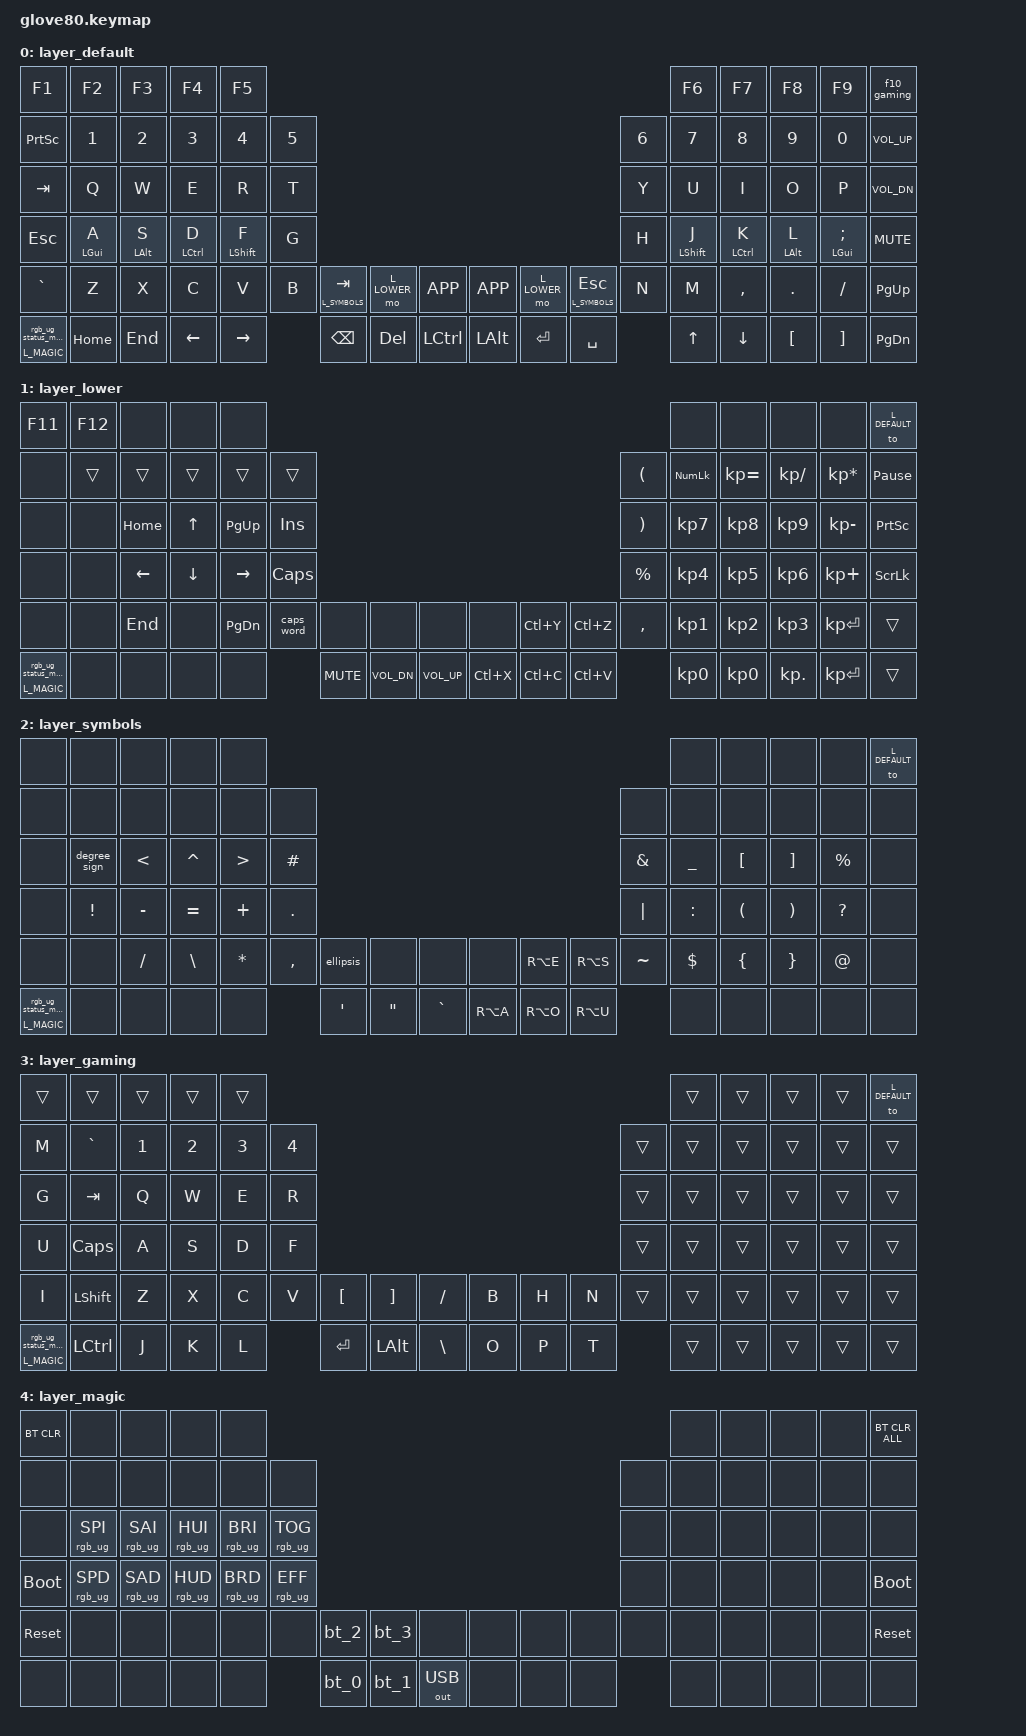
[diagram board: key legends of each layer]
/*
 * Copyright (c) 2020 The ZMK Contributors
 *
 * SPDX-License-Identifier: MIT
 */

#include <behaviors.dtsi>
#include <dt-bindings/zmk/keys.h>
#include <dt-bindings/zmk/bt.h>
#include <dt-bindings/zmk/ext_power.h>
#include <dt-bindings/zmk/outputs.h>
#include <dt-bindings/zmk/rgb.h>

// Layers
#define L_DEFAULT 0
#define L_LOWER   1
#define L_SYMBOLS 2
#define L_GAMING  3
#define L_MAGIC   4

// Troubleshooting/timings:
// https://github.com/urob/zmk-config?tab=readme-ov-file#troubleshooting
// https://docs.google.com/spreadsheets/d/1ESgObQelyz4lnKlfwLYsmofLJulOMK5RdGBsopLe2o8/edit

// How long you have to hold a key for it to count as a "hold" instead of just a "tap"
#define DEFAULT_TAPPING_TERM_MS 200

// Homerow mod hold time
#define HRM_TAPPING_TERM_MS_INDEX  140
#define HRM_TAPPING_TERM_MS_MIDDLE 220
#define HRM_TAPPING_TERM_MS_RING   240
#define HRM_TAPPING_TERM_MS_PINKY  260

// It prevents unintended activation of home row mods when you're actively typing.
#define HRM_REQ_PRIOR_IDLE_MS_INDEX  100
#define HRM_REQ_PRIOR_IDLE_MS_MIDDLE 150
#define HRM_REQ_PRIOR_IDLE_MS_RING   150
#define HRM_REQ_PRIOR_IDLE_MS_PINKY  200

// Time you have left after tapping a key to hold it again to make it auto-repeat.
#define HRM_QUICK_TAP_MS 175

// Unicode sequence
#define UNICODE_TAP_DELAY 10
#define UNICODE(_name_, _keystrokes_)                                 \
    _name_: _name_ {                                                  \
        compatible = "zmk,behavior-macro";                            \
        wait-ms = <UNICODE_TAP_DELAY>;                                \
        tap-ms = <UNICODE_TAP_DELAY>;                                 \
        #binding-cells = <0>;                                         \
        bindings = <&macro_tap &kp LC(LS(U)) _keystrokes_ &kp ENTER>; \
    };

/ {
    //////////////////////////////////////////////////////////////////////////////
    // Behaviors
    //////////////////////////////////////////////////////////////////////////////

    behaviors {
        //////////////////////////////////////////////////////////////////////////
        // Magic layer
        //////////////////////////////////////////////////////////////////////////

        magic: magic_hold_tap {
            compatible = "zmk,behavior-hold-tap";
            #binding-cells = <2>;
            flavor = "tap-preferred";
            tapping-term-ms = <DEFAULT_TAPPING_TERM_MS>;
            bindings = <&mo>, <&rgb_ug_status_macro>;
        };

        //////////////////////////////////////////////////////////////////////////
        // ZMK global overrides
        //////////////////////////////////////////////////////////////////////////

        behavior_caps_word {
            continue-list = <
                UNDERSCORE MINUS
                BACKSPACE DELETE
                N1 N2 N3 N4 N5 N6 N7 N8 N9 N0
            >;
        };

        //////////////////////////////////////////////////////////////////////////
        // Homerow mods
        //////////////////////////////////////////////////////////////////////////

        // Timeless homerow mods
        // https://github.com/urob/zmk-config?tab=readme-ov-file#timeless-homerow-mods
        // https://docs.google.com/spreadsheets/d/1ESgObQelyz4lnKlfwLYsmofLJulOMK5RdGBsopLe2o8/edit
        #define LEFT_HAND_KEYS                                      \
              0  1  2  3  4                                         \
             10 11 12 13 14 15                                      \
             22 23 24 25 26 27                                      \
             34 35 36 37 38 39                                      \
             46 47 48 49 50 51                                      \
             64 65 66 67 68
        #define RIGHT_HAND_KEYS                                     \
                                               5  6  7  8  9        \
                                           16 17 18 19 20 21        \
                                           28 29 30 31 32 33        \
                                           40 41 42 43 44 45        \
                                           58 59 60 61 62 63        \
                                              75 76 77 78 79
        #define THUMB_KEYS                                          \
                            69 52       57 74                       \
                             70 53     56 73                        \
                              71 54   55 72

        #define HOMEROW_MOD(_name_, _tapping_term_ms_, _require_prior_idle_ms_, _htkeys_) \
            _name_: _name_ {                                        \
                compatible = "zmk,behavior-hold-tap";               \
                flavor = "balanced";                                \
                tapping-term-ms = <_tapping_term_ms_>;              \
                /* repeat on tap-into-hold */                       \
                quick-tap-ms = <HRM_QUICK_TAP_MS>;                  \
                require-prior-idle-ms = <_require_prior_idle_ms_>;  \
                #binding-cells = <2>;                               \
                bindings = <&kp>, <&kp>;                            \
                hold-trigger-key-positions = <_htkeys_ THUMB_KEYS>; \
                /* delay positional check until key-release */      \
                hold-trigger-on-release;                            \
            };

        HOMEROW_MOD(hmli, HRM_TAPPING_TERM_MS_INDEX,  HRM_REQ_PRIOR_IDLE_MS_INDEX,  RIGHT_HAND_KEYS)
        HOMEROW_MOD(hmlm, HRM_TAPPING_TERM_MS_MIDDLE, HRM_REQ_PRIOR_IDLE_MS_MIDDLE, RIGHT_HAND_KEYS)
        HOMEROW_MOD(hmlr, HRM_TAPPING_TERM_MS_RING,   HRM_REQ_PRIOR_IDLE_MS_RING,   RIGHT_HAND_KEYS)
        HOMEROW_MOD(hmlp, HRM_TAPPING_TERM_MS_PINKY,  HRM_REQ_PRIOR_IDLE_MS_PINKY,  RIGHT_HAND_KEYS)
        HOMEROW_MOD(hmri, HRM_TAPPING_TERM_MS_INDEX,  HRM_REQ_PRIOR_IDLE_MS_INDEX,  LEFT_HAND_KEYS)
        HOMEROW_MOD(hmrm, HRM_TAPPING_TERM_MS_MIDDLE, HRM_REQ_PRIOR_IDLE_MS_MIDDLE, LEFT_HAND_KEYS)
        HOMEROW_MOD(hmrr, HRM_TAPPING_TERM_MS_RING,   HRM_REQ_PRIOR_IDLE_MS_RING,   LEFT_HAND_KEYS)
        HOMEROW_MOD(hmrp, HRM_TAPPING_TERM_MS_PINKY,  HRM_REQ_PRIOR_IDLE_MS_PINKY,  LEFT_HAND_KEYS)

        //////////////////////////////////////////////////////////////////////////
        // Thumb keys
        //////////////////////////////////////////////////////////////////////////

        // tap: press key, hold: momentary layer
        mo_kp: mo_kp {
            compatible = "zmk,behavior-hold-tap";
            #binding-cells = <2>;
            flavor = "balanced";
            tapping-term-ms = <DEFAULT_TAPPING_TERM_MS>;
            bindings = <&mo>, <&kp>;
        };

        f10_gaming: f10_gaming {
            compatible = "zmk,behavior-tap-dance";
            #binding-cells = <0>;
            tapping-term-ms = <DEFAULT_TAPPING_TERM_MS>;
            bindings = <&kp F10>, <&to L_GAMING>;
        };
    };

    //////////////////////////////////////////////////////////////////////////////
    // Macros
    //////////////////////////////////////////////////////////////////////////////

    macros {
        UNICODE(degree_sign, &kp B &kp N0)
        UNICODE(ellipsis, &kp N2 &kp N0 &kp N2 &kp N6)

        //////////////////////////////////////////////////////////////////////////
        // Firmware stuff
        //////////////////////////////////////////////////////////////////////////

        rgb_ug_status_macro: rgb_ug_status_macro_0 {
            compatible = "zmk,behavior-macro";
            #binding-cells = <0>;
            bindings
                = <&rgb_ug RGB_STATUS>;
        };

        bt_0: bt_profile_macro_0 {
            compatible = "zmk,behavior-macro";
            #binding-cells = <0>;
            bindings
                = <&out OUT_BLE>,
                  <&bt BT_SEL 0>;
        };

        bt_1: bt_profile_macro_1 {
            compatible = "zmk,behavior-macro";
            #binding-cells = <0>;
            bindings
                = <&out OUT_BLE>,
                  <&bt BT_SEL 1>;
        };

        bt_2: bt_profile_macro_2 {
            compatible = "zmk,behavior-macro";
            #binding-cells = <0>;
            bindings
                = <&out OUT_BLE>,
                  <&bt BT_SEL 2>;
        };

        bt_3: bt_profile_macro_3 {
            compatible = "zmk,behavior-macro";
            #binding-cells = <0>;
            bindings
                = <&out OUT_BLE>,
                  <&bt BT_SEL 3>;
        };
    };

    //////////////////////////////////////////////////////////////////////////////
    // Layers
    //////////////////////////////////////////////////////////////////////////////

    keymap {
        compatible = "zmk,keymap";

        layer_default {
            bindings = <
            &kp F1            &kp F2        &kp F3        &kp F4         &kp F5                                                                                                                      &kp F6          &kp F7         &kp F8        &kp F9           &f10_gaming
            &kp PSCRN         &kp N1        &kp N2        &kp N3         &kp N4          &kp N5                                                                                              &kp N6  &kp N7          &kp N8         &kp N9        &kp N0           &kp C_VOL_UP
            &kp TAB           &kp Q         &kp W         &kp E          &kp R           &kp T                                                                                               &kp Y   &kp U           &kp I          &kp O         &kp P            &kp C_VOL_DN
            &kp ESC           &hmlp LGUI A  &hmlr LALT S  &hmlm LCTRL D  &hmli LSHIFT F  &kp G                                                                                               &kp H   &hmri LSHIFT J  &hmrm LCTRL K  &hmrr LALT L  &hmrp LGUI SEMI  &kp C_MUTE
            &kp GRAVE         &kp Z         &kp X         &kp C          &kp V           &kp B   &mo_kp L_SYMBOLS TAB  &mo L_LOWER  &kp K_APP  &kp K_APP  &mo L_LOWER  &mo_kp L_SYMBOLS ESC  &kp N   &kp M           &kp COMMA      &kp DOT       &kp FSLH         &kp PG_UP
            &magic L_MAGIC 0  &kp HOME      &kp END       &kp LEFT       &kp RIGHT               &kp BSPC              &kp DEL      &kp LCTRL  &kp LALT   &kp RET      &kp SPACE                     &kp UP          &kp DOWN       &kp LBKT      &kp RBKT         &kp PG_DN
            >;
        };

        layer_lower {
            bindings = <
            &kp F11           &kp F12  &none     &none     &none                                                                                                      &none       &none         &none          &none            &to L_DEFAULT
            &none             &trans   &trans    &trans    &trans     &trans                                                                               &kp LPAR   &kp KP_NUM  &kp KP_EQUAL  &kp KP_DIVIDE  &kp KP_MULTIPLY  &kp PAUSE_BREAK
            &none             &none    &kp HOME  &kp UP    &kp PG_UP  &kp INS                                                                              &kp RPAR   &kp KP_N7   &kp KP_N8     &kp KP_N9      &kp KP_MINUS     &kp PSCRN
            &none             &none    &kp LEFT  &kp DOWN  &kp RIGHT  &kp CAPS                                                                             &kp PRCNT  &kp KP_N4   &kp KP_N5     &kp KP_N6      &kp KP_PLUS      &kp SLCK
            &none             &none    &kp END   &none     &kp PG_DN  &caps_word  &none       &none         &none         &none      &kp LC(Y)  &kp LC(Z)  &kp COMMA  &kp KP_N1   &kp KP_N2     &kp KP_N3      &kp KP_ENTER     &trans
            &magic L_MAGIC 0  &none    &none     &none     &none                  &kp C_MUTE  &kp C_VOL_DN  &kp C_VOL_UP  &kp LC(X)  &kp LC(C)  &kp LC(V)             &kp KP_N0   &kp KP_N0     &kp KP_DOT     &kp KP_ENTER     &trans
            >;
        };

        // https://getreuer.info/posts/keyboards/symbol-layer/index.html
        layer_symbols {
            bindings = <
            &none             &none         &none      &none      &none                                                                                            &none      &none     &none     &none      &to L_DEFAULT
            &none             &none         &none      &none      &none      &none                                                                      &none      &none      &none     &none     &none      &none
            &none             &degree_sign  &kp LT     &kp CARET  &kp GT     &kp HASH                                                                   &kp AMPS   &kp UNDER  &kp LBKT  &kp RBKT  &kp PRCNT  &none
            &none             &kp EXCL      &kp MINUS  &kp EQUAL  &kp PLUS   &kp DOT                                                                    &kp PIPE   &kp COLON  &kp LPAR  &kp RPAR  &kp QMARK  &none
            &none             &none         &kp SLASH  &kp BSLH   &kp ASTRK  &kp COMMA  &ellipsis  &none    &none      &none      &kp RA(E)  &kp RA(S)  &kp TILDE  &kp DLLR   &kp LBRC  &kp RBRC  &kp AT     &none
            &magic L_MAGIC 0  &none         &none      &none      &none                 &kp SQT    &kp DQT  &kp GRAVE  &kp RA(A)  &kp RA(O)  &kp RA(U)             &none      &none     &none     &none      &none
            >;
        };

        layer_gaming {
            bindings = <
            &trans            &trans      &trans  &trans  &trans                                                                     &trans  &trans  &trans  &trans  &to L_DEFAULT
            &kp M             &kp GRAVE   &kp N1  &kp N2  &kp N3  &kp N4                                                     &trans  &trans  &trans  &trans  &trans  &trans
            &kp G             &kp TAB     &kp Q   &kp W   &kp E   &kp R                                                      &trans  &trans  &trans  &trans  &trans  &trans
            &kp U             &kp CAPS    &kp A   &kp S   &kp D   &kp F                                                      &trans  &trans  &trans  &trans  &trans  &trans
            &kp I             &kp LSHIFT  &kp Z   &kp X   &kp C   &kp V   &kp LBKT  &kp RBKT  &kp FSLH  &kp B  &kp H  &kp N  &trans  &trans  &trans  &trans  &trans  &trans
            &magic L_MAGIC 0  &kp LCTRL   &kp J   &kp K   &kp L           &kp RET   &kp LALT  &kp BSLH  &kp O  &kp P  &kp T          &trans  &trans  &trans  &trans  &trans
            >;
        };

        layer_magic {
            bindings = <
            &bt BT_CLR  &none            &none            &none            &none                                                                                     &none  &none  &none  &none  &bt BT_CLR_ALL
            &none       &none            &none            &none            &none            &none                                                             &none  &none  &none  &none  &none  &none
            &none       &rgb_ug RGB_SPI  &rgb_ug RGB_SAI  &rgb_ug RGB_HUI  &rgb_ug RGB_BRI  &rgb_ug RGB_TOG                                                   &none  &none  &none  &none  &none  &none
            &bootloader &rgb_ug RGB_SPD  &rgb_ug RGB_SAD  &rgb_ug RGB_HUD  &rgb_ug RGB_BRD  &rgb_ug RGB_EFF                                                   &none  &none  &none  &none  &none  &bootloader
            &sys_reset  &none            &none            &none            &none            &none            &bt_2  &bt_3  &none         &none  &none  &none  &none  &none  &none  &none  &none  &sys_reset
            &none       &none            &none            &none            &none                             &bt_0  &bt_1  &out OUT_USB  &none  &none  &none         &none  &none  &none  &none  &none
            >;
        };
    };
};
